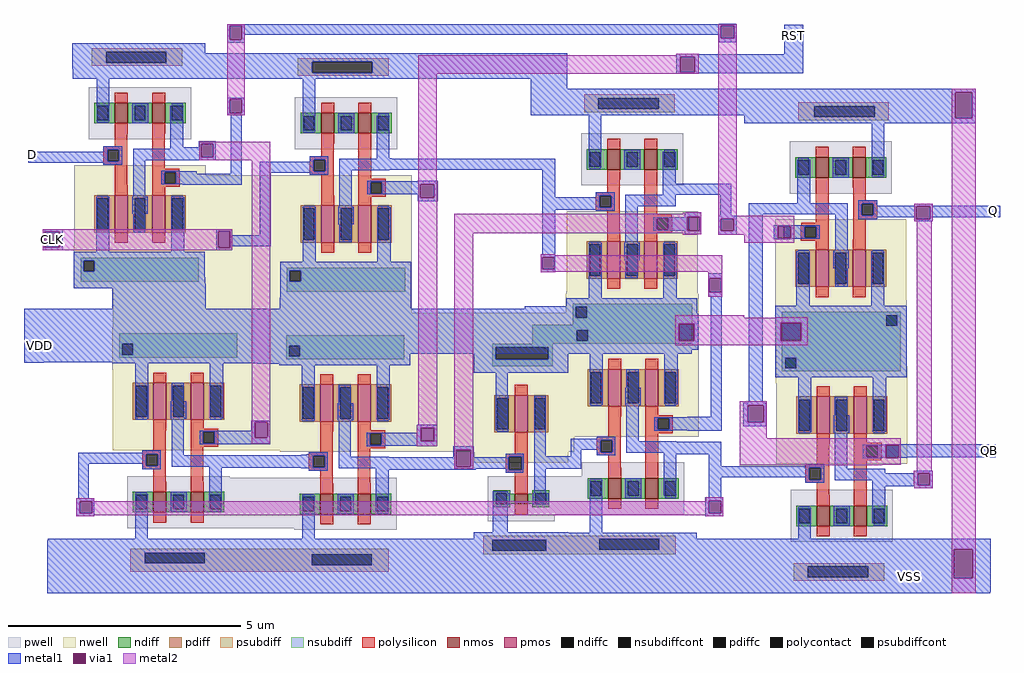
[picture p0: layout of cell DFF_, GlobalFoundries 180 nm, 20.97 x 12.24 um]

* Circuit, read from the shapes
.subckt DFF_ D VDD VSS RST CLK Q QB
XM1 n1 D VSS VSS nfet_03v3 w=0.44u l=0.28u
XM2 nand2_2/IN1 nand2_6/IN1 n1 VSS nfet_03v3 w=0.44u l=0.28u
XM3 n2 nand2_2/IN2 VSS VSS nfet_03v3 w=0.44u l=0.28u
XM4 nand2_3/IN2 nand2_2/IN1 n2 VSS nfet_03v3 w=0.44u l=0.28u
XM5 n3 nand2_3/IN2 VSS VSS nfet_03v3 w=0.44u l=0.28u
XM6 n4 CLK VSS VSS nfet_03v3 w=0.44u l=0.28u
XM7 inv_0/IN RST n3 VSS nfet_03v3 w=0.44u l=0.28u
XM8 nand2_1/IN1 RST n4 VSS nfet_03v3 w=0.44u l=0.28u
XM9 nand2_1/IN2 inv_0/IN VSS VSS nfet_03v3 w=0.22u l=0.28u
XM10 n5 nand2_1/IN1 VSS VSS nfet_03v3 w=0.44u l=0.28u
XM11 n6 nand2_1/IN2 VSS VSS nfet_03v3 w=0.44u l=0.28u
XM12 nand2_6/IN1 inv_0/IN n5 VSS nfet_03v3 w=0.44u l=0.28u
XM13 nand2_2/IN2 nand2_1/IN1 n6 VSS nfet_03v3 w=0.44u l=0.28u
XM14 n7 nand2_6/IN1 QB VSS nfet_03v3 w=0.44u l=0.28u
XM15 n8 nand2_2/IN2 VSS VSS nfet_03v3 w=0.44u l=0.28u
XM16 VSS Q n7 VSS nfet_03v3 w=0.44u l=0.28u
XM17 Q QB n8 VSS nfet_03v3 w=0.44u l=0.28u
XM18 nand2_2/IN1 D VDD VDD pfet_03v3 w=0.8u l=0.28u
XM19 VDD nand2_6/IN1 nand2_2/IN1 VDD pfet_03v3 w=0.8u l=0.28u
XM20 nand2_3/IN2 nand2_2/IN2 VDD VDD pfet_03v3 w=0.8u l=0.28u
XM21 VDD nand2_2/IN1 nand2_3/IN2 VDD pfet_03v3 w=0.8u l=0.28u
XM22 inv_0/IN nand2_3/IN2 VDD VDD pfet_03v3 w=0.8u l=0.28u
XM23 nand2_1/IN1 CLK VDD VDD pfet_03v3 w=0.8u l=0.28u
XM24 VDD RST inv_0/IN VDD pfet_03v3 w=0.8u l=0.28u
XM25 VDD RST nand2_1/IN1 VDD pfet_03v3 w=0.8u l=0.28u
XM26 nand2_1/IN2 inv_0/IN VDD VDD pfet_03v3 w=0.8u l=0.28u
XM27 nand2_6/IN1 nand2_1/IN1 VDD VDD pfet_03v3 w=0.8u l=0.28u
XM28 nand2_2/IN2 nand2_1/IN2 VDD VDD pfet_03v3 w=0.8u l=0.28u
XM29 VDD inv_0/IN nand2_6/IN1 VDD pfet_03v3 w=0.8u l=0.28u
XM30 VDD nand2_1/IN1 nand2_2/IN2 VDD pfet_03v3 w=0.8u l=0.28u
XM31 QB nand2_6/IN1 VDD VDD pfet_03v3 w=0.8u l=0.28u
XM32 Q nand2_2/IN2 VDD VDD pfet_03v3 w=0.8u l=0.28u
XM33 VDD Q QB VDD pfet_03v3 w=0.8u l=0.28u
XM34 VDD QB Q VDD pfet_03v3 w=0.8u l=0.28u
.ends

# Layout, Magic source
magic
tech gf180mcuC
magscale 1 10
<< nwell >>
rect 11 1523 799 1943
rect 11 1458 1301 1523
rect 17 1351 1301 1458
rect 1963 1351 2534 1434
rect 17 1189 2534 1351
rect 2969 1193 3323 1262
rect 17 761 1999 1189
rect 1265 754 1999 761
<< pwell >>
rect 517 426 808 643
rect 1910 485 2041 650
<< psubdiff >>
rect 92 239 1201 337
rect 1609 314 2436 394
<< nsubdiff >>
rect 2501 1322 2505 1390
rect 1819 1243 1997 1300
rect 1819 1226 2010 1243
rect 1819 1218 1997 1226
rect 1861 1215 1906 1218
rect 1867 1197 1884 1215
rect 2891 1204 3401 1355
rect 2891 1100 3399 1204
<< metal1 >>
rect 2619 2592 2695 2594
rect 508 2584 2696 2592
rect 508 2525 519 2584
rect 571 2545 2629 2584
rect 571 2525 583 2545
rect 508 2512 583 2525
rect 2619 2531 2629 2545
rect 2687 2545 2696 2584
rect 2687 2531 2695 2545
rect 2619 2514 2695 2531
rect 342 2508 414 2509
rect -156 2466 414 2508
rect -156 2358 838 2466
rect 343 2357 838 2358
rect 1183 2357 1969 2466
rect 2437 2462 2534 2464
rect 2902 2462 2983 2588
rect 2437 2452 2983 2462
rect 2437 2386 2454 2452
rect 2516 2386 2983 2452
rect 2437 2381 2983 2386
rect 2437 2378 2534 2381
rect 1813 2314 1969 2357
rect 1813 2299 3723 2314
rect 508 2268 583 2276
rect 508 2209 518 2268
rect 570 2209 583 2268
rect 508 2200 583 2209
rect 1813 2201 3636 2299
rect 386 2078 458 2089
rect 386 2062 396 2078
rect -347 1996 -30 2043
rect 264 2020 396 2062
rect 448 2020 458 2078
rect 264 2007 458 2020
rect 386 2006 458 2007
rect 524 1948 571 2200
rect 2729 2187 3636 2201
rect 3709 2187 3723 2299
rect 2729 2166 3723 2187
rect 1165 2014 1214 2015
rect 317 1901 571 1948
rect 647 1953 864 2000
rect 1165 1967 1918 2014
rect 1165 1966 1214 1967
rect -285 1699 -198 1710
rect -285 1634 -277 1699
rect -211 1634 -198 1699
rect -285 1620 -198 1634
rect 460 1702 530 1710
rect 460 1630 469 1702
rect 522 1684 530 1702
rect 647 1684 694 1953
rect 1326 1917 1412 1919
rect 1181 1904 1412 1917
rect 1181 1860 1337 1904
rect 1326 1845 1337 1860
rect 1397 1845 1412 1904
rect 1326 1831 1412 1845
rect 1862 1849 1918 1967
rect 2379 1859 2673 1906
rect 522 1637 694 1684
rect 1862 1794 2101 1849
rect 522 1630 530 1637
rect 460 1620 530 1630
rect 1862 1602 1917 1794
rect 2477 1782 2545 1783
rect 2474 1765 2545 1782
rect 2626 1769 2673 1859
rect 2474 1704 2484 1765
rect 2539 1704 2545 1765
rect 2474 1688 2545 1704
rect 2618 1768 2673 1769
rect 2748 1774 2959 1823
rect 3459 1811 3540 1821
rect 3283 1810 3828 1811
rect 2618 1755 2697 1768
rect 2618 1703 2628 1755
rect 2685 1703 2697 1755
rect 2618 1687 2697 1703
rect 1855 1590 1918 1602
rect 1855 1538 1862 1590
rect 1914 1538 1918 1590
rect 1855 1525 1918 1538
rect 2574 1501 2635 1522
rect 275 1475 415 1476
rect 14 1370 416 1475
rect 2574 1439 2579 1501
rect 2631 1439 2635 1501
rect 2574 1423 2635 1439
rect 757 1417 897 1418
rect 734 1370 1299 1417
rect 1787 1370 2504 1380
rect -364 1305 2504 1370
rect -364 1254 2447 1305
rect -365 1231 2447 1254
rect -365 1175 2504 1231
rect -365 1140 897 1175
rect -365 1138 -280 1140
rect -2 1139 897 1140
rect 532 1134 897 1139
rect 639 1133 897 1134
rect 2586 904 2632 1423
rect 2748 966 2808 1774
rect 3283 1763 3469 1810
rect 3459 1754 3469 1763
rect 3528 1763 3828 1810
rect 3528 1754 3540 1763
rect 3459 1745 3540 1754
rect 2857 1724 2930 1727
rect 2857 1672 2873 1724
rect 2928 1672 2930 1724
rect 2857 1667 2930 1672
rect 2863 1309 3426 1381
rect 2863 1232 2886 1309
rect 2974 1232 3426 1309
rect 2863 1074 3426 1232
rect 612 882 692 888
rect 612 844 626 882
rect 680 879 692 882
rect 484 814 626 844
rect 682 818 692 879
rect 1322 858 1410 870
rect 1322 837 1339 858
rect 680 814 692 818
rect 484 787 692 814
rect 612 786 692 787
rect 1194 800 1339 837
rect 1397 800 1410 858
rect 2484 845 2632 904
rect 2725 954 2823 966
rect 2725 881 2744 954
rect 2812 881 2823 954
rect 2725 865 2823 881
rect 1194 780 1410 800
rect 1322 778 1410 780
rect 1480 764 1568 779
rect -133 704 136 751
rect 827 740 859 741
rect -133 554 -86 704
rect 430 685 859 740
rect 1480 732 1492 764
rect 827 683 859 685
rect 1147 690 1492 732
rect 1554 732 1568 764
rect 1983 763 2089 810
rect 1983 735 2030 763
rect 2383 743 2631 798
rect 1554 690 1618 732
rect 1147 682 1618 690
rect 1945 682 2030 735
rect 2577 692 2631 743
rect 3336 786 3468 787
rect 3599 786 3809 787
rect 3336 785 3809 786
rect 3336 731 3338 785
rect 3394 731 3809 785
rect 3394 728 3430 731
rect 1147 677 1576 682
rect 2577 645 2995 692
rect 3458 663 3540 674
rect 3458 662 3474 663
rect 2577 560 2630 645
rect 3279 611 3474 662
rect 3526 611 3540 663
rect 3279 606 3540 611
rect 3459 598 3540 606
rect -141 542 -63 554
rect -141 490 -126 542
rect -72 490 -63 542
rect -141 477 -63 490
rect 2562 544 2638 560
rect 2562 490 2577 544
rect 2630 490 2638 544
rect 2562 477 2638 490
rect -264 373 3788 381
rect -265 336 3788 373
rect -265 212 3629 336
rect 3710 212 3788 336
rect -265 154 3788 212
rect -265 146 3787 154
<< via1 >>
rect 519 2525 571 2584
rect 2629 2531 2687 2584
rect 2454 2386 2516 2452
rect 518 2209 570 2268
rect 396 2020 448 2078
rect 3636 2187 3709 2299
rect -277 1634 -211 1699
rect 469 1630 522 1702
rect 1337 1845 1397 1904
rect 2484 1704 2539 1765
rect 2628 1703 2685 1755
rect 1862 1538 1914 1590
rect 2579 1439 2631 1501
rect 2447 1231 2514 1305
rect 3469 1754 3528 1810
rect 2873 1672 2928 1724
rect 2886 1232 2974 1309
rect 626 879 680 882
rect 626 818 682 879
rect 626 814 680 818
rect 1339 800 1397 858
rect 2744 881 2812 954
rect 1492 690 1554 764
rect 3338 728 3394 785
rect 3474 611 3526 663
rect -126 490 -72 542
rect 2577 490 2630 544
rect 3629 212 3710 336
<< metal2 >>
rect 508 2584 583 2592
rect 508 2525 519 2584
rect 571 2525 583 2584
rect 508 2268 583 2525
rect 2618 2584 2697 2592
rect 2618 2531 2629 2584
rect 2687 2531 2697 2584
rect 2437 2459 2534 2464
rect 508 2209 518 2268
rect 570 2209 583 2268
rect 508 2200 583 2209
rect 1329 2452 2534 2459
rect 1329 2386 2454 2452
rect 2516 2386 2534 2452
rect 1329 2379 2534 2386
rect 388 2078 692 2086
rect 388 2020 396 2078
rect 448 2020 692 2078
rect 388 2007 692 2020
rect -285 1702 530 1710
rect -285 1699 469 1702
rect -285 1634 -277 1699
rect -211 1634 469 1699
rect -285 1630 469 1634
rect 522 1630 530 1702
rect -285 1620 530 1630
rect 613 882 692 2007
rect 1329 1918 1409 2379
rect 2437 2378 2534 2379
rect 613 814 626 882
rect 680 879 692 882
rect 682 818 692 879
rect 1328 1904 1411 1918
rect 1328 1845 1337 1904
rect 1397 1845 1411 1904
rect 1328 870 1411 1845
rect 2477 1782 2545 1783
rect 2466 1776 2545 1782
rect 680 814 692 818
rect 613 788 692 814
rect 1322 858 1411 870
rect 1322 800 1339 858
rect 1397 800 1411 858
rect 1322 784 1411 800
rect 1483 1765 2545 1776
rect 1483 1704 2484 1765
rect 2539 1704 2545 1765
rect 1483 1693 2545 1704
rect 1322 778 1410 784
rect 1483 764 1566 1693
rect 2466 1688 2545 1693
rect 2618 1768 2697 2531
rect 3621 2299 3723 2314
rect 3621 2187 3636 2299
rect 3709 2187 3723 2299
rect 3459 1810 3540 1821
rect 2618 1755 2945 1768
rect 2618 1703 2628 1755
rect 2685 1724 2945 1755
rect 3459 1754 3469 1810
rect 3528 1754 3540 1810
rect 3459 1745 3540 1754
rect 2685 1703 2873 1724
rect 2466 1687 2526 1688
rect 2618 1687 2873 1703
rect 2729 1672 2873 1687
rect 2928 1672 2945 1724
rect 2729 1652 2945 1672
rect 1855 1598 1917 1602
rect 1855 1590 2635 1598
rect 1855 1538 1862 1590
rect 1914 1538 2635 1590
rect 1855 1528 2635 1538
rect 1855 1526 1918 1528
rect 2574 1501 2635 1528
rect 2574 1439 2579 1501
rect 2631 1439 2635 1501
rect 2574 1421 2635 1439
rect 2432 1330 2729 1340
rect 2864 1330 3003 1333
rect 2432 1309 3003 1330
rect 2432 1305 2886 1309
rect 2432 1231 2447 1305
rect 2514 1232 2886 1305
rect 2974 1232 3003 1309
rect 2514 1231 3003 1232
rect 2432 1213 3003 1231
rect 1483 690 1492 764
rect 1554 690 1566 764
rect 2711 954 2827 972
rect 2711 881 2744 954
rect 2812 881 2827 954
rect 2711 812 2827 881
rect 2711 785 3402 812
rect 2711 728 3338 785
rect 3394 728 3402 785
rect 2711 698 3402 728
rect 2711 696 3320 698
rect 1483 682 1566 690
rect 3470 674 3534 1745
rect 3458 663 3540 674
rect 3458 611 3474 663
rect 3526 611 3540 663
rect 3458 606 3540 611
rect 3459 598 3540 606
rect -141 542 -63 554
rect -141 490 -126 542
rect -72 541 -63 542
rect 2563 544 2638 560
rect 2563 541 2577 544
rect -72 490 2577 541
rect 2630 490 2638 544
rect -141 481 2638 490
rect -141 477 -63 481
rect 2563 477 2638 481
rect 3621 336 3723 2187
rect 3621 212 3629 336
rect 3710 212 3723 336
rect 3621 146 3723 212
use inv  inv_0
transform 1 0 1629 0 1 236
box -61 58 345 1035
use nand2  nand2_0
transform 1 0 799 0 -1 2278
box -70 -188 502 863
use nand2  nand2_1
transform 1 0 2032 0 1 485
box -70 -188 502 863
use nand2  nand2_2
transform 1 0 79 0 1 426
box -70 -188 502 863
use nand2  nand2_3
transform 1 0 796 0 1 419
box -70 -188 502 863
use nand2  nand2_4
transform 1 0 2928 0 1 367
box -70 -188 502 863
use nand2  nand2_5
transform 1 0 2028 0 -1 2123
box -70 -188 502 863
use nand2  nand2_6
transform -1 0 3364 0 -1 2088
box -70 -188 502 863
use nand2  nand2_7
transform 1 0 -87 0 -1 2321
box -70 -188 502 863
<< labels >>
flabel metal1 -330 2030 -330 2030 0 FreeSans 480 0 0 0 D
port 1 nsew
flabel metal1 -300 1210 -300 1210 0 FreeSans 480 0 0 0 VDD
port 3 nsew
flabel metal1 3440 220 3440 220 0 FreeSans 480 0 0 0 VSS
port 4 nsew
flabel metal1 2943 2541 2943 2541 0 FreeSans 480 0 0 0 RST
port 7 nsew
flabel via1 -244 1667 -244 1667 0 FreeSans 480 0 0 0 CLK
port 8 nsew
flabel metal1 3801 1790 3801 1790 0 FreeSans 480 0 0 0 Q
port 9 nsew
flabel metal1 3782 760 3782 760 0 FreeSans 480 0 0 0 QB
port 10 nsew
<< end >>

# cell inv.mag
magic
tech gf180mcuC
magscale 1 10
<< nwell >>
rect -60 831 344 1035
rect 114 556 171 558
<< psubdiff >>
rect -20 151 292 156
rect -20 141 293 151
rect -20 94 17 141
rect 250 94 293 141
rect -20 84 293 94
rect -20 80 292 84
<< nsubdiff >>
rect 18 968 277 983
rect 18 917 33 968
rect 258 917 277 968
rect 18 885 277 917
<< psubdiffcont >>
rect 17 94 250 141
<< nsubdiffcont >>
rect 33 917 258 968
<< polysilicon >>
rect 114 556 171 558
rect 114 511 170 556
rect 75 498 170 511
rect 75 442 89 498
rect 144 442 170 498
rect 75 428 170 442
rect 114 383 170 428
<< polycontact >>
rect 89 442 144 498
<< metal1 >>
rect -61 968 344 1028
rect -61 917 33 968
rect 258 917 344 968
rect -61 857 344 917
rect 33 612 85 857
rect 75 498 152 511
rect 75 496 89 498
rect -61 446 89 496
rect 75 442 89 446
rect 144 446 152 498
rect 199 499 248 760
rect 199 446 338 499
rect 144 442 151 446
rect 75 428 151 442
rect 20 172 84 349
rect 199 294 248 446
rect -61 141 344 172
rect -61 94 17 141
rect 250 94 344 141
rect -61 58 344 94
use nmos_3p3_DDNVWA  nmos_3p3_DDNVWA_0
transform 1 0 142 0 1 317
box -144 -97 144 97
use pmos_3p3_MQGBLR  pmos_3p3_MQGBLR_0
transform 1 0 143 0 1 682
box -202 -210 202 210
<< labels >>
flabel psubdiffcont 134 118 134 118 0 FreeSans 480 0 0 0 VSS
port 6 nsew
flabel metal1 -37 469 -37 469 0 FreeSans 320 0 0 0 IN
port 8 nsew
flabel metal1 307 471 307 471 0 FreeSans 320 0 0 0 OUT
port 9 nsew
flabel nsubdiffcont 145 929 145 929 0 FreeSans 480 0 0 0 VDD
port 5 nsew
<< end >>

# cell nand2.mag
magic
tech gf180mcuC
magscale 1 10
<< nwell >>
rect -64 708 500 863
rect -64 682 32 708
rect 33 682 500 708
rect 191 384 243 624
<< psubdiff >>
rect 13 -105 402 -91
rect 13 -151 75 -105
rect 333 -151 402 -105
rect 13 -167 402 -151
<< nsubdiff >>
rect -35 792 473 837
rect -35 746 -22 792
rect 24 746 473 792
rect -35 733 473 746
<< psubdiffcont >>
rect 75 -151 333 -105
<< nsubdiffcont >>
rect -22 746 24 792
<< polysilicon >>
rect 311 421 391 427
rect 112 334 166 421
rect 63 318 166 334
rect 63 268 81 318
rect 130 268 166 318
rect 63 254 166 268
rect 112 200 166 254
rect 272 414 391 421
rect 272 366 326 414
rect 374 366 391 414
rect 272 360 391 366
rect 272 350 390 360
rect 272 200 327 350
<< polycontact >>
rect 81 268 130 318
rect 326 366 374 414
<< metal1 >>
rect -64 817 500 863
rect -64 792 499 817
rect -64 746 -22 792
rect 24 746 499 792
rect -64 708 499 746
rect 33 471 89 708
rect 191 545 243 624
rect 186 470 253 545
rect 354 473 411 708
rect 63 325 144 334
rect 53 318 144 325
rect 53 278 81 318
rect 63 268 81 278
rect 130 268 144 318
rect 63 254 144 268
rect 191 314 243 470
rect 311 414 465 418
rect 311 366 326 414
rect 374 366 465 414
rect 311 361 465 366
rect 311 360 391 361
rect 191 265 406 314
rect 34 -79 88 149
rect 186 70 255 156
rect 351 80 406 265
rect -70 -105 493 -79
rect -70 -151 75 -105
rect 333 -151 493 -105
rect -70 -188 493 -151
use nmos_3p3_5QNVWA  nmos_3p3_5QNVWA_0
transform 1 0 140 0 1 112
box -140 -112 140 112
use nmos_3p3_5QNVWA  nmos_3p3_5QNVWA_1
transform 1 0 300 0 1 112
box -140 -112 140 112
use pmos_3p3_M8SWPS  pmos_3p3_M8SWPS_0
transform 1 0 300 0 1 545
box -202 -210 202 210
use pmos_3p3_M8SWPS  pmos_3p3_M8SWPS_1
transform 1 0 140 0 1 545
box -202 -210 202 210
<< labels >>
flabel polycontact 101 293 101 293 0 FreeSans 480 0 0 0 IN2
port 1 nsew
flabel metal1 425 394 425 394 0 FreeSans 480 0 0 0 IN1
port 2 nsew
flabel metal1 374 282 374 282 0 FreeSans 480 0 0 0 OUT
port 3 nsew
flabel psubdiffcont 204 -128 204 -128 0 FreeSans 480 0 0 0 VSS
port 4 nsew
flabel nsubdiffcont 425 785 425 785 0 FreeSans 640 0 0 0 VDD
port 5 nsew
<< end >>

# cell nmos_3p3_5QNVWA: kit device nmos_3p3, w 0.440 l 0.280 m 1 nf 1 diffcov 100 polycov 100 guard 0 glc 0 grc 0 gtc 0 gbc 0 tbcov 100 rlcov 100 topc 0 botc 0 poverlap 0 doverlap 1 lmin 0.28 wmin 0.22 full_metal 0 compatible {nmos_3p3 nmos_6p0 nmos_6p0_nat}

# cell pmos_3p3_M8SWPS: kit device pmos_3p3, w 0.80 l 0.280 m 1 nf 1 diffcov 100 polycov 100 guard 0 glc 0 grc 0 gtc 0 gbc 0 tbcov 100 rlcov 100 topc 0 botc 0 poverlap 0 doverlap 1 lmin 0.28 wmin 0.22 full_metal 0 compatible {pmos_3p3 pmos_6p0}

# cell nmos_3p3_DDNVWA: kit device nmos_3p3, w 0.220 l 0.280 m 1 nf 1 diffcov 100 polycov 100 guard 0 glc 0 grc 0 gtc 0 gbc 0 tbcov 100 rlcov 100 topc 0 botc 0 poverlap 0 doverlap 1 lmin 0.28 wmin 0.22 full_metal 0 compatible {nmos_3p3 nmos_6p0 nmos_6p0_nat}

# cell pmos_3p3_MQGBLR: kit device pmos_3p3, w 0.8 l 0.280 m 1 nf 1 diffcov 100 polycov 100 guard 0 glc 0 grc 0 gtc 0 gbc 0 tbcov 100 rlcov 100 topc 0 botc 0 poverlap 0 doverlap 1 lmin 0.28 wmin 0.22 full_metal 0 compatible {pmos_3p3 pmos_6p0}
